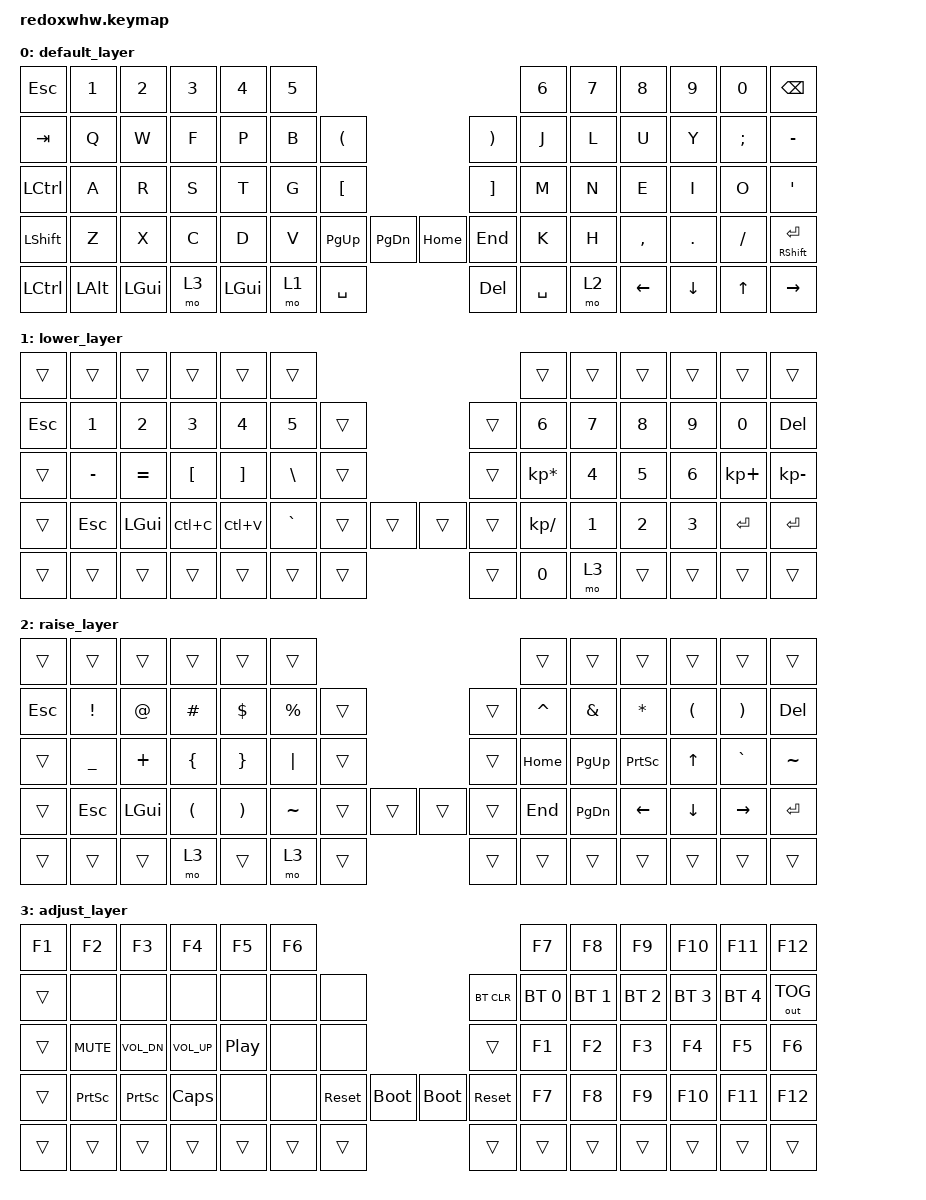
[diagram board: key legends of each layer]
/*
 * Copyright (c) 2021 The ZMK Contributors
 *
 * SPDX-License-Identifier: MIT
 */

#include <behaviors.dtsi>
#include <dt-bindings/zmk/keys.h>
#include <dt-bindings/zmk/bt.h>
#include <dt-bindings/zmk/ext_power.h>
#include <dt-bindings/zmk/outputs.h>

/ {
    keymap {
        compatible =  "zmk,keymap" ;

        default_layer {
// --------------------------------------------------------------------------------------------------------------------------------
// | ESC   |  1  |  2  |   3   |  4  |  5  |                   ---                |  6    |  7    |  8    |  9   | 0  |    BSPC   |
// | TAB   |  Q  |  W  |   F   |  P  |  B  |   (   |           ---        |  )    |  J    |  L    |  U    |  Y   | ;  |     -     |
// | CTRL  |  A  |  R  |   S   |  T  |  G  |   [   |           ---        |  ]    |  M    |  N    |  E    |  I   | O  |     '     |
// | SHIFT |  Z  |  X  |   C   |  D  |  V  | PG_UP | PG_DOWN | --- | HOME | END   |  K    |  H    |  ,    |  .   | /  | SHFT(RET) |
// | CRTL  | ALT | GUI | LOWER |    GUI    | LOWER | SPACE   | --- | DEL  | SPACE |     RAISE     | LEFT  | DOWN | UP |   RIGHT   |
            bindings = <
   &kp ESC   &kp N1   &kp N2   &kp N3 &kp N4   &kp N5                                        &kp N6    &kp N7 &kp N8    &kp N9   &kp N0   &kp BSPC
   &kp TAB   &kp Q    &kp W    &kp F  &kp P    &kp B  &kp LPAR                     &kp RPAR  &kp J     &kp L  &kp U     &kp Y    &kp SEMI &kp MINUS
   &kp LCTRL &kp A    &kp R    &kp S  &kp T    &kp G  &kp LBKT                     &kp RBKT  &kp M     &kp N  &kp E     &kp I    &kp O    &kp SQT
   &kp LSHFT &kp Z    &kp X    &kp C  &kp D    &kp V  &kp PG_UP &kp PG_DN &kp HOME &kp END   &kp K     &kp H  &kp COMMA &kp DOT  &kp FSLH &mt RSHFT RET
   &kp LCTRL &kp LALT &kp LGUI &mo 3      &kp LGUI    &mo 1     &kp SPACE &kp DEL  &kp SPACE       &mo 2      &kp LEFT  &kp DOWN &kp UP   &kp RIGHT
            >;

        };

        lower_layer {
// --------------------------------------------------------------------------------------------------------------------------
// | ESC   |  1  |  2  |   3   |   4   |  5  |                   ---              |  6  |  7  |   8  |  9   |  0  |  DEL  |
// | ESC   |  1  |  2  |   3   |   4   |  5  |   (   |           ---        |  )  |  6  |  7  |   8  |  9   |  0  |  DEL  |
// | CTRL  |  -  |  =  |   [   |   ]   |  \  |   [   |           ---        |  ]  |  *  |  4  |   5  |  6   |  +  |   -   |
// | SHIFT | ESC | GUI | COPY  | PASTE |     | PG_UP | PG_DOWN | --- | HOME | END |  \  |  1  |   2  |  3   | RET |  RET  |
// | CRTL  | ALT | GUI | LOWER |     GUI     | LOWER | SPACE   | --- | DEL  |  0  |    RAISE  | LEFT | DOWN | UP  | RIGHT |
            bindings = <
   &trans  &trans    &trans    &trans    &trans    &trans                                &trans          &trans    &trans    &trans    &trans      &trans
   &kp ESC &kp N1    &kp N2    &kp N3    &kp N4    &kp N5    &trans               &trans &kp N6          &kp N7    &kp N8    &kp N9    &kp N0      &kp DEL
   &trans  &kp MINUS &kp EQUAL &kp LBKT  &kp RBKT  &kp BSLH  &trans               &trans &kp KP_MULTIPLY &kp N4    &kp N5    &kp N6    &kp KP_PLUS &kp KP_MINUS
   &trans  &kp ESC   &kp LGUI  &kp LC(C) &kp LC(V) &kp GRAVE &trans &trans &trans &trans &kp KP_DIVIDE   &kp N1    &kp N2    &kp N3    &kp RET     &kp RET
   &trans  &trans    &trans    &trans          &trans        &trans &trans &trans &kp N0          &mo 3            &trans    &trans    &trans      &trans
            >;
        };

        raise_layer {
// ----------------------------------------------------------------------------------------------------------------------------
// | ESC   |  1  |  2  |   3   |  4  |  5  |                   ---                |  6   |  7   |  8   |  9   |  0    |  DEL  |
// | ESC   |  !  |  @  |   #   |  $  |  %  |   (   |           ---        |  )    |  ^   |  &   |  *   |  (   |  )    |  DEL  |
// | CTRL  |  _  |  +  |   {   |  }  | "|" |   [   |           ---        |  ]    | HOME | PGUP | PRSC | UP   |  `    |   ~   |
// | SHIFT | ESC | GUI |   (   |  )  |     | PG_UP | PG_DOWN | --- | HOME | END   | END  | PGDN | LEFT | DOWN | RIGHT |  RET  |
// | CRTL  | ALT | GUI | LOWER |    GUI    | LOWER | SPACE   | --- | DEL  | SPACE |    RAISE    | LEFT | DOWN | UP    | RIGHT |
            bindings = <
   &trans  &trans    &trans   &trans   &trans   &trans                                &trans    &trans    &trans    &trans   &trans    &trans
   &kp ESC &kp EXCL  &kp AT   &kp HASH &kp DLLR &kp PRCNT &trans               &trans &kp CARET &kp AMPS  &kp ASTRK &kp LPAR &kp RPAR  &kp DEL
   &trans  &kp UNDER &kp PLUS &kp LBRC &kp RBRC &kp PIPE  &trans               &trans &kp HOME  &kp PG_UP &kp PSCRN &kp UP   &kp GRAVE &kp TILDE
   &trans  &kp ESC   &kp LGUI &kp LPAR &kp RPAR &kp TILDE &trans &trans &trans &trans &kp END   &kp PG_DN &kp LEFT  &kp DOWN &kp RIGHT &kp RET
   &trans  &trans    &trans   &mo 3         &trans        &mo 3  &trans &trans &trans        &trans       &trans    &trans   &trans    &trans
            >;
        };

        adjust_layer {
// -----------------------------------------------------------------------------------------
// |  F1   |  F2   |    F3    |    F4     |     F5     | F6 |                   ---                | F7  | F8  |  F9  |  F10 | F11 | F12        |
// | TAB   |       |          |           |            |    |       |           ---         | BT_CLR| BT1 | BT2 |  BT3 |  BT4 | BT5 | OUTPUT TGL |
// | CTRL  | MUTE  |  Vol Dn  |  Vol Up   | Play/Pause |    |       |           ---         |  ]    | F1  | F2  |  F3  |  F4  | F5  | F6         |
// | SHIFT | PSCRN |  PSCRN   |   CAPS    |            |    | RESET | BOOTL   | --- | BOOTL | RESET | F7  | F8  |  F9  |  F10 | F11 | F12        |
// | CRTL  | ALT   |  GUI     |   LOWER   |      GUI        | LOWER | SPACE   | --- | DEL   | SPACE |   RAISE   | LEFT | DOWN | UP  |   RIGHT    |
                        bindings = <
   &kp F1  &kp F2     &kp F3       &kp F4       &kp F5           &kp F6                                                     &kp F7       &kp F8       &kp F9       &kp F10      &kp F11       &kp F12
   &trans  &none      &none        &none        &none            &none  &none                                   &bt BT_CLR  &bt BT_SEL 0 &bt BT_SEL 1 &bt BT_SEL 2 &bt BT_SEL 3 &bt BT_SEL 4  &out OUT_TOG
   &trans  &kp K_MUTE &kp C_VOL_DN &kp C_VOL_UP &kp C_PLAY_PAUSE &none  &none                                   &trans      &kp F1       &kp F2       &kp F3       &kp F4       &kp F5        &kp F6
   &trans  &kp PSCRN  &kp PSCRN    &kp CLCK     &none            &none  &sys_reset &bootloader      &bootloader &sys_reset  &kp F7       &kp F8       &kp F9       &kp F10      &kp F11       &kp F12
   &trans  &trans     &trans       &trans              &trans           &trans     &trans           &trans      &trans          &trans                &trans       &trans       &trans        &trans
            >;
        };
    };
};
